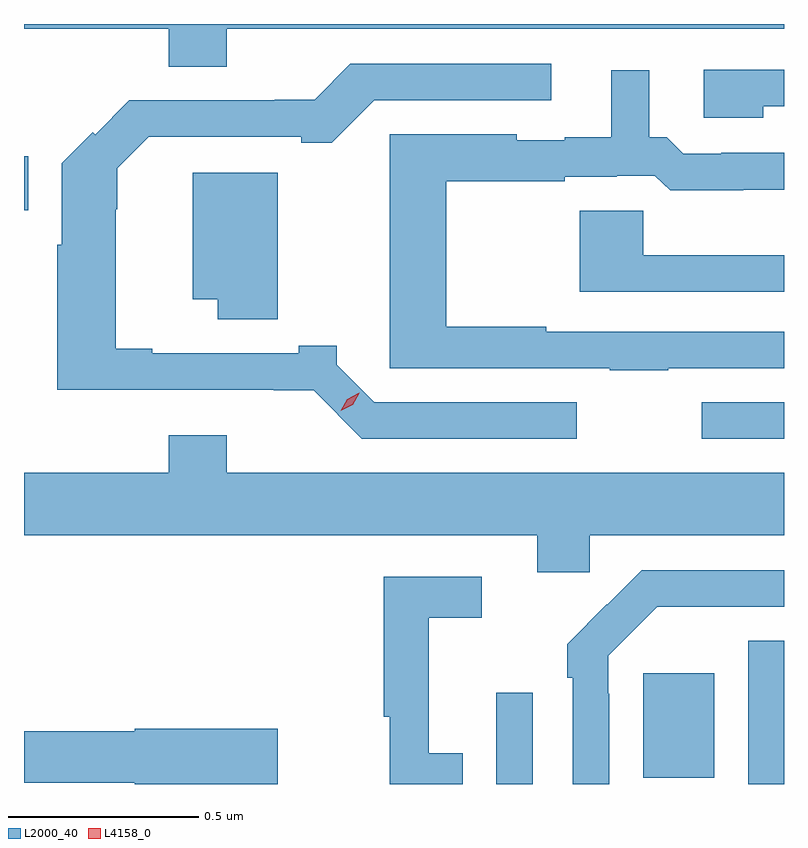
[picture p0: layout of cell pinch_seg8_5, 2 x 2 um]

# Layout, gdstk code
import gdstk
lib = gdstk.Library(unit=1e-6, precision=1e-09)
def R(c, l, rs):  # rectangles x0, y0, x1, y1
    for r in rs: c.add(gdstk.rectangle(r[:2], r[2:], *l))
def P(c, l, *ps):  # polygons
    for p in ps: c.add(gdstk.Polygon(p, *l))
L2000_40 = (2000, 40)
L4158_0 = (4158, 0)

pinch_seg8_5 = lib.new_cell('pinch_seg8_5')
R(pinch_seg8_5, L2000_40, [(1012.563,1133.161,1012.659,1133.401), (1013.226,1133.161,1013.32,1133.538), (1012.949,1133.177,1013.137,1133.452), (1013.103,1134.069,1013.32,1134.165), (1011.32,1134.671,1011.331,1134.813)])
P(pinch_seg8_5, L2000_40, [(1011.32,1135.148),(1011.701,1135.148),(1011.701,1135.049),(1011.853,1135.049),(1011.853,1135.148),(1013.32,1135.148),(1013.32,1135.161),(1011.32,1135.161)],
  [(1012.774,1134.165),(1012.242,1134.165),(1012.143,1134.264),(1012.143,1134.314),(1012.043,1134.314),(1012.043,1134.294),(1011.658,1134.294),(1011.658,1134.307),(1011.562,1134.307),(1011.562,1134.674),(1011.565,1134.674),(1011.565,1134.781),(1011.648,1134.864),(1012.049,1134.864),(1012.049,1134.848),(1012.13,1134.848),(1012.242,1134.96),(1012.708,1134.96),(1012.708,1135.056),(1012.179,1135.056),(1012.085,1134.962),(1011.98,1134.962),(1011.98,1134.96),(1011.597,1134.96),(1011.507,1134.87),(1011.501,1134.876),(1011.419,1134.794),(1011.419,1134.58),(1011.407,1134.58),(1011.407,1134.198),(1011.977,1134.198),(1011.977,1134.197),(1012.082,1134.197),(1012.209,1134.069),(1012.774,1134.069)],
  [(1013.265,1134.945),(1013.32,1134.945),(1013.32,1135.041),(1013.109,1135.041),(1013.109,1134.914),(1013.265,1134.914)],
  [(1013.015,1134.255),(1013.32,1134.255),(1013.32,1134.351),(1012.694,1134.351),(1012.694,1134.364),(1012.431,1134.364),(1012.431,1134.747),(1012.743,1134.747),(1012.743,1134.759),(1012.88,1134.759),(1012.88,1134.762),(1012.98,1134.762),(1013.02,1134.723),(1013.213,1134.723),(1013.213,1134.725),(1013.32,1134.725),(1013.32,1134.822),(1013.155,1134.822),(1013.155,1134.819),(1013.055,1134.819),(1013.012,1134.863),(1012.966,1134.863),(1012.966,1135.039),(1012.865,1135.039),(1012.865,1134.863),(1012.743,1134.863),(1012.743,1134.855),(1012.617,1134.855),(1012.617,1134.871),(1012.283,1134.871),(1012.283,1134.255),(1012.861,1134.255),(1012.861,1134.25),(1013.015,1134.25)],
  [(1011.988,1134.769),(1011.764,1134.769),(1011.764,1134.437),(1011.83,1134.437),(1011.83,1134.384),(1011.988,1134.384)],
  [(1013.32,1134.553),(1012.949,1134.553),(1012.949,1134.67),(1012.783,1134.67),(1012.783,1134.456),(1013.32,1134.456)],
  [(1012.809,1133.816),(1013.32,1133.816),(1013.32,1133.98),(1011.853,1133.98),(1011.853,1134.079),(1011.701,1134.079),(1011.701,1133.98),(1011.32,1133.98),(1011.32,1133.816),(1012.67,1133.816),(1012.67,1133.718),(1012.809,1133.718)],
  [(1012.86,1133.399),(1012.857,1133.399),(1012.857,1133.499),(1012.986,1133.628),(1013.32,1133.628),(1013.32,1133.724),(1012.946,1133.724),(1012.855,1133.633),(1012.854,1133.634),(1012.749,1133.529),(1012.749,1133.441),(1012.764,1133.441),(1012.764,1133.161),(1012.86,1133.161)],
  [(1012.474,1133.242),(1012.385,1133.242),(1012.385,1133.598),(1012.525,1133.598),(1012.525,1133.706),(1012.267,1133.706),(1012.267,1133.338),(1012.282,1133.338),(1012.282,1133.161),(1012.474,1133.161)],
  [(1011.988,1133.306),(1011.612,1133.306),(1011.612,1133.3),(1011.32,1133.3),(1011.32,1133.164),(1011.612,1133.164),(1011.612,1133.161),(1011.988,1133.161)])
P(pinch_seg8_5, L4158_0, [(1012.154,1134.143),(1012.154,1134.143),(1012.171,1134.173),(1012.202,1134.19),(1012.202,1134.19),(1012.202,1134.189),(1012.185,1134.159),(1012.154,1134.143)])

lib.write_gds('pinch_seg8_5.gds')
